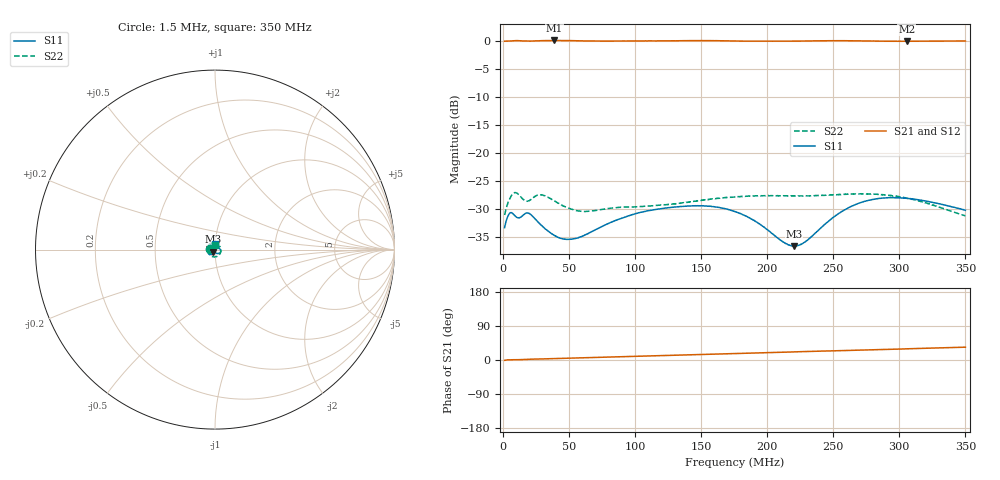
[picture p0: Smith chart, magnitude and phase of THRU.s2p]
# Hz S RI R 50
! RAW DATA - UNCALIBRATED
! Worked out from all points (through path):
!   1601 points, 1.5 MHz to 350 MHz, reference 50 ohm
!   highest |S21| = 0.07 dB at 39.18 MHz (marker M1); lowest = -0.1 dB at 305.6 MHz (marker M2)
!   lowest |S11| = -36.6 dB at 220.4 MHz (marker M3), VSWR 1.03, Z = 49 - j1.05 ohm
!   |S11| at or under -10 dB: start of sweep to end of sweep
!   |S22| runs from -31.2 to -27.0 dB; largest |S21 - S12| = 0.046
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1500000  -0.0217 0.000179  0.993 -0.0148  0.9924 -0.0284  -0.0281 0.00094
5420625  -0.0291 0.00268  0.9971 0.00604  0.9937 -0.000427  -0.0394 -0.000914
9123438  -0.0263 0.00914  1.003 0.0134  0.9892 0.0113  -0.0434 0.00982
1.239062e7  -0.0244 0.0103  1.004 0.0142  0.99 0.02  -0.0385 0.0178
2.001406e7  -0.0209 0.0201  0.9938 0.0358  0.994 0.0314  -0.0317 0.0204
2.872656e7  -0.00797 0.0216  1.002 0.0479  0.9891 0.0464  -0.0265 0.0333
3.918156e7  3.81e-05 0.0185  1.006 0.0628  0.9963 0.0718  -0.00935 0.0364
4.811188e7  0.00445 0.0164  1.003 0.077  0.9987 0.0857  -0.00101 0.033
5.965594e7  0.0102 0.0149  0.9955 0.097  0.9929 0.1031  0.00572 0.0298
8.797156e7  0.025 0.00633  0.9861 0.1427  0.9762 0.1519  0.0265 0.0194
1.178119e8  0.0313 -0.00544  0.9816 0.1916  0.9684 0.2074  0.0331 -0.00912
1.507016e8  0.0304 -0.0151  0.9735 0.2491  0.9624 0.2717  0.019 -0.033
1.7575e8  0.0216 -0.021  0.9561 0.2854  0.9453 0.309  -4.96e-05 -0.0409
1.914325e8  0.0117 -0.0217  0.9443 0.3125  0.9324 0.3357  -0.0139 -0.0392
2.134316e8  -0.00516 -0.0149  0.9302 0.3503  0.9164 0.3771  -0.0316 -0.0268
2.204016e8  -0.0102 -0.0108  0.9263 0.3631  0.9122 0.3907  -0.0361 -0.0207
2.339059e8  -0.0182 -0.000394  0.9218 0.3873  0.907 0.4159  -0.0411 -0.00667
2.495884e8  -0.0227 0.0137  0.9156 0.4104  0.9003 0.4391  -0.0411 0.0111
2.624394e8  -0.0221 0.0245  0.9072 0.425  0.8908 0.4557  -0.0359 0.0241
2.920619e8  -0.012 0.0382  0.8767 0.4656  0.8588 0.4982  -0.0158 0.039
3.055662e8  -0.00711 0.0389  0.8628 0.4876  0.8434 0.5227  -0.00791 0.0389
3.5e8  0.00182 0.0309  0.8291 0.5549  0.8035 0.5925  0.000624 0.0276
